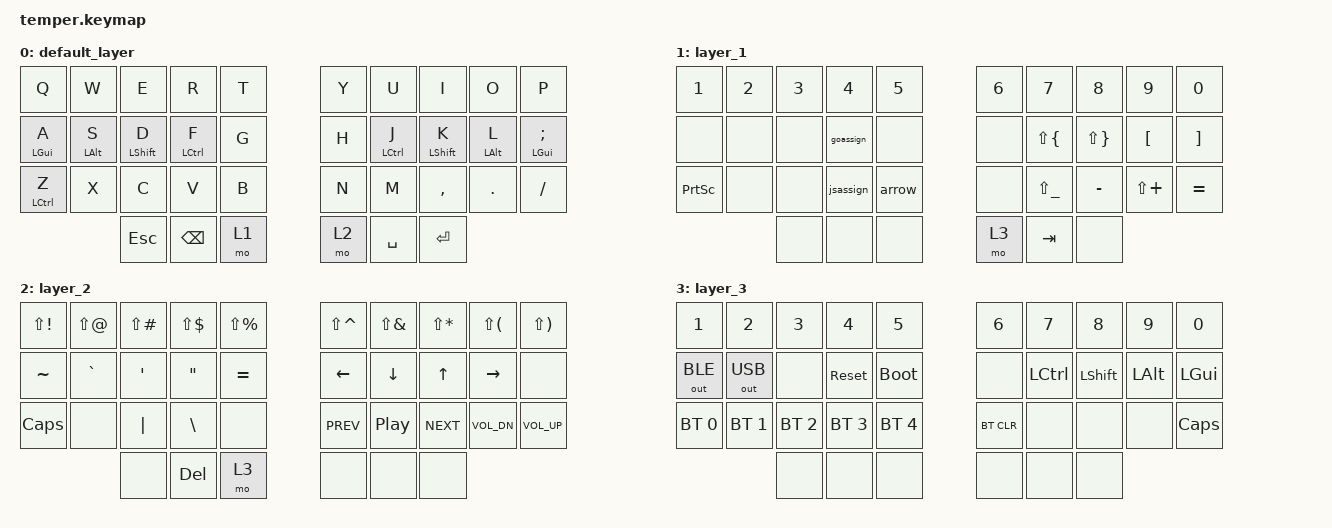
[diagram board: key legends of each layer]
#include <behaviors.dtsi>
#include <dt-bindings/zmk/bt.h>
#include <dt-bindings/zmk/keys.h>
#include <dt-bindings/zmk/outputs.h>

/ {
    combos { compatible = "zmk,combos"; };

    behaviors {
        hm: hm {
            compatible = "zmk,behavior-hold-tap";
            bindings = <&kp>, <&kp>;

            #binding-cells = <2>;
            tapping-term-ms = <175>;
            quick-tap-ms = <150>;
            flavor = "balanced";
            hold-trigger-on-release;
            hold-trigger-key-positions = <0 1 2 3 4 5 6 7 8 9 10 11 12 13 14 15 16 17 18 19 20 21 22 23 24 25 26 27 28 29>;
            require-prior-idle-ms = <150>;
        };

        hml: hml {
            compatible = "zmk,behavior-hold-tap";
            bindings = <&mo>, <&kp>;

            #binding-cells = <2>;
            tapping-term-ms = <175>;
            quick-tap-ms = <150>;
            hold-trigger-key-positions = <30 31 32 33>;
            hold-trigger-on-release;
            flavor = "balanced";
            require-prior-idle-ms = <150>;
        };
    };

    macros {
        jsassign: eql {
            compatible = "zmk,behavior-macro";
            #binding-cells = <0>;
            bindings = <&kp EQUAL &kp GT>, <&macro_press>;

            label = "EQL";
        };

        goassign: eqp {
            compatible = "zmk,behavior-macro";
            #binding-cells = <0>;
            bindings = <&kp COLON &kp EQUAL>, <&macro_press>;

            label = "EQP";
        };

        arrow: arrow {
            compatible = "zmk,behavior-macro";
            #binding-cells = <0>;
            bindings = <&kp MINUS &kp GREATER_THAN>, <&macro_press>;

            label = "ARROW";
        };
    };

    keymap {
        compatible = "zmk,keymap";

        default_layer {
            bindings = <
&kp Q        &kp W       &kp E         &kp R          &kp T    &kp Y  &kp U        &kp I        &kp O       &kp P
&hm LGUI A   &hm LALT S  &hm LSHIFT D  &hm LCTRL F    &kp G    &kp H  &hm LCTRL J  &hm LSHFT K  &hm LALT L  &hm LGUI SEMICOLON
&hm LCTRL Z  &kp X       &kp C         &kp V          &kp B    &kp N  &kp M        &kp COMMA    &kp DOT     &kp FSLH
                         &kp ESCAPE    &kp BACKSPACE  &mo 1    &mo 2  &kp SPACE    &kp ENTER
            >;
        };

        layer_1 {
            bindings = <
&kp N1           &kp N2  &kp N3  &kp N4     &kp N5    &kp N6  &kp N7         &kp N8        &kp N9        &kp N0
&none            &none   &none   &goassign  &none     &none   &kp LS(LBRC)   &kp LS(RBRC)  &kp LBKT      &kp RBKT
&kp PRINTSCREEN  &none   &none   &jsassign  &arrow    &none   &kp LS(UNDER)  &kp MINUS     &kp LS(PLUS)  &kp EQUAL
                         &none   &none      &none     &mo 3   &kp TAB        &none
            >;
        };

        layer_2 {
            bindings = <
&kp LS(EXCL)  &kp LS(AT)  &kp LS(POUND)  &kp LS(DLLR)       &kp LS(PRCNT)    &kp LS(CARET)  &kp LS(AMPS)  &kp LS(STAR)  &kp LS(LPAR)  &kp LS(RPAR)
&kp TILDE     &kp GRAVE   &kp SQT        &kp DOUBLE_QUOTES  &kp EQUAL        &kp LEFT       &kp DOWN      &kp UP        &kp RIGHT     &none
&kp CAPS      &none       &kp PIPE       &kp BACKSLASH      &none            &kp C_PREV     &kp C_PP      &kp C_NEXT    &kp C_VOL_DN  &kp C_VOLUME_UP
                          &none          &kp DEL            &mo 3            &none          &none         &none
            >;
        };

        layer_3 {
            bindings = <
&kp N1        &kp N2        &kp N3        &kp N4        &kp N5          &kp N6      &kp N7     &kp N8     &kp N9    &kp N0
&out OUT_BLE  &out OUT_USB  &none         &sys_reset    &bootloader     &none       &kp LCTRL  &kp LSHFT  &kp LALT  &kp LGUI
&bt BT_SEL 0  &bt BT_SEL 1  &bt BT_SEL 2  &bt BT_SEL 3  &bt BT_SEL 4    &bt BT_CLR  &none      &none      &none     &kp CAPS
                            &none         &none         &none           &none       &none      &none
            >;
        };
    };
};
